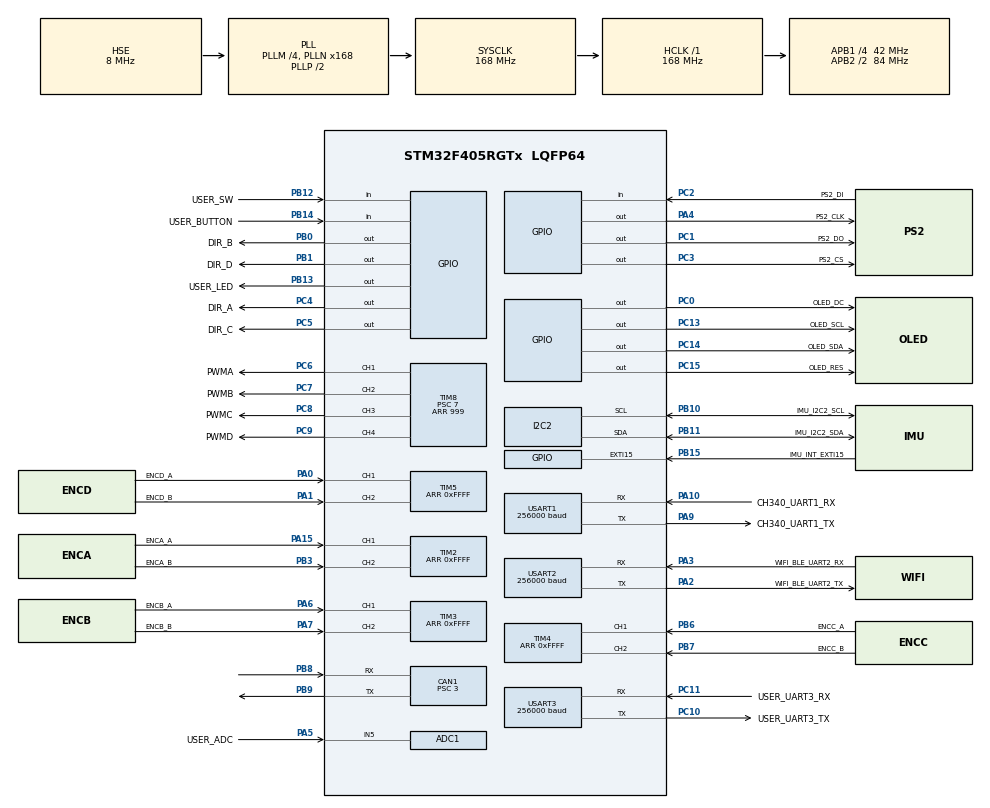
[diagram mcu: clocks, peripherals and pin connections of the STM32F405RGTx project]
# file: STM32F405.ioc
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ADC1.Channel-0\#ChannelRegularConversion=ADC_CHANNEL_5
ADC1.NbrOfConversion=1
ADC1.NbrOfConversionFlag=1
ADC1.Rank-0\#ChannelRegularConversion=1
ADC1.SamplingTime-0\#ChannelRegularConversion=ADC_SAMPLETIME_3CYCLES
ADC1.master=1
CAN1.BS1=CAN_BS1_6TQ
CAN1.BS2=CAN_BS2_7TQ
CAN1.CalculateTimeQuantum=71.42857142857143
CAN1.Prescaler=3
Dma.I2C2_RX.5.Direction=DMA_PERIPH_TO_MEMORY
Dma.I2C2_RX.5.FIFOMode=DMA_FIFOMODE_DISABLE
Dma.I2C2_RX.5.Instance=DMA1_Stream2
Dma.I2C2_RX.5.MemDataAlignment=DMA_MDATAALIGN_BYTE
Dma.I2C2_RX.5.MemInc=DMA_MINC_ENABLE
Dma.I2C2_RX.5.Mode=DMA_NORMAL
Dma.I2C2_RX.5.PeriphDataAlignment=DMA_PDATAALIGN_BYTE
Dma.I2C2_RX.5.PeriphInc=DMA_PINC_DISABLE
Dma.I2C2_RX.5.Priority=DMA_PRIORITY_HIGH
Dma.I2C2_TX.4.Direction=DMA_MEMORY_TO_PERIPH
Dma.I2C2_TX.4.FIFOMode=DMA_FIFOMODE_DISABLE
Dma.I2C2_TX.4.Instance=DMA1_Stream7
Dma.I2C2_TX.4.MemDataAlignment=DMA_MDATAALIGN_BYTE
Dma.I2C2_TX.4.MemInc=DMA_MINC_ENABLE
Dma.I2C2_TX.4.Mode=DMA_NORMAL
Dma.I2C2_TX.4.PeriphDataAlignment=DMA_PDATAALIGN_BYTE
Dma.I2C2_TX.4.PeriphInc=DMA_PINC_DISABLE
Dma.I2C2_TX.4.Priority=DMA_PRIORITY_HIGH
Dma.Request0=USART1_TX
Dma.Request1=USART1_RX
Dma.Request2=USART2_TX
Dma.Request3=USART2_RX
Dma.Request4=I2C2_TX
Dma.Request5=I2C2_RX
Dma.Request6=USART3_RX
Dma.USART1_RX.1.Direction=DMA_PERIPH_TO_MEMORY
Dma.USART1_RX.1.FIFOMode=DMA_FIFOMODE_DISABLE
Dma.USART1_RX.1.Instance=DMA2_Stream2
Dma.USART1_RX.1.MemDataAlignment=DMA_MDATAALIGN_BYTE
Dma.USART1_RX.1.MemInc=DMA_MINC_ENABLE
Dma.USART1_RX.1.Mode=DMA_NORMAL
Dma.USART1_RX.1.PeriphDataAlignment=DMA_PDATAALIGN_BYTE
Dma.USART1_RX.1.PeriphInc=DMA_PINC_DISABLE
Dma.USART1_RX.1.Priority=DMA_PRIORITY_VERY_HIGH
Dma.USART1_TX.0.Direction=DMA_MEMORY_TO_PERIPH
Dma.USART1_TX.0.FIFOMode=DMA_FIFOMODE_DISABLE
Dma.USART1_TX.0.Instance=DMA2_Stream7
Dma.USART1_TX.0.MemDataAlignment=DMA_MDATAALIGN_BYTE
Dma.USART1_TX.0.MemInc=DMA_MINC_ENABLE
Dma.USART1_TX.0.Mode=DMA_NORMAL
Dma.USART1_TX.0.PeriphDataAlignment=DMA_PDATAALIGN_BYTE
Dma.USART1_TX.0.PeriphInc=DMA_PINC_DISABLE
Dma.USART1_TX.0.Priority=DMA_PRIORITY_VERY_HIGH
Dma.USART2_RX.3.Direction=DMA_PERIPH_TO_MEMORY
Dma.USART2_RX.3.FIFOMode=DMA_FIFOMODE_DISABLE
Dma.USART2_RX.3.Instance=DMA1_Stream5
Dma.USART2_RX.3.MemDataAlignment=DMA_MDATAALIGN_BYTE
Dma.USART2_RX.3.MemInc=DMA_MINC_ENABLE
Dma.USART2_RX.3.Mode=DMA_NORMAL
Dma.USART2_RX.3.PeriphDataAlignment=DMA_PDATAALIGN_BYTE
Dma.USART2_RX.3.PeriphInc=DMA_PINC_DISABLE
Dma.USART2_RX.3.Priority=DMA_PRIORITY_VERY_HIGH
Dma.USART2_TX.2.Direction=DMA_MEMORY_TO_PERIPH
Dma.USART2_TX.2.FIFOMode=DMA_FIFOMODE_DISABLE
Dma.USART2_TX.2.Instance=DMA1_Stream6
Dma.USART2_TX.2.MemDataAlignment=DMA_MDATAALIGN_BYTE
Dma.USART2_TX.2.MemInc=DMA_MINC_ENABLE
Dma.USART2_TX.2.Mode=DMA_NORMAL
Dma.USART2_TX.2.PeriphDataAlignment=DMA_PDATAALIGN_BYTE
Dma.USART2_TX.2.PeriphInc=DMA_PINC_DISABLE
Dma.USART2_TX.2.Priority=DMA_PRIORITY_HIGH
Dma.USART3_RX.6.Direction=DMA_PERIPH_TO_MEMORY
Dma.USART3_RX.6.FIFOMode=DMA_FIFOMODE_DISABLE
Dma.USART3_RX.6.Instance=DMA1_Stream1
Dma.USART3_RX.6.MemDataAlignment=DMA_MDATAALIGN_BYTE
Dma.USART3_RX.6.MemInc=DMA_MINC_ENABLE
Dma.USART3_RX.6.Mode=DMA_NORMAL
Dma.USART3_RX.6.PeriphDataAlignment=DMA_PDATAALIGN_BYTE
Dma.USART3_RX.6.PeriphInc=DMA_PINC_DISABLE
Dma.USART3_RX.6.Priority=DMA_PRIORITY_HIGH
I2C2.I2C_Mode=I2C_Standard
Mcu.Family=STM32F4
Mcu.Name=STM32F405RGTx
Mcu.Package=LQFP64
NVIC.CAN1_RX0_IRQn=true\:0\:0\:false\:false\:true\:true\:true
NVIC.DMA1_Stream1_IRQn=true\:0\:0\:false\:false\:true\:false\:true
NVIC.DMA1_Stream2_IRQn=true\:0\:0\:false\:false\:true\:false\:true
NVIC.DMA1_Stream5_IRQn=true\:0\:0\:false\:false\:true\:false\:true
NVIC.DMA1_Stream6_IRQn=true\:0\:0\:false\:false\:true\:false\:true
NVIC.DMA1_Stream7_IRQn=true\:0\:0\:false\:false\:true\:false\:true
NVIC.DMA2_Stream2_IRQn=true\:0\:0\:false\:false\:true\:false\:true
NVIC.DMA2_Stream7_IRQn=true\:0\:0\:false\:false\:true\:false\:true
NVIC.EXTI15_10_IRQn=true\:0\:0\:true\:false\:true\:true\:true
NVIC.I2C2_EV_IRQn=true\:0\:0\:false\:false\:true\:true\:true
NVIC.PriorityGroup=NVIC_PRIORITYGROUP_4
NVIC.TIM7_IRQn=true\:0\:0\:false\:false\:true\:true\:true
NVIC.USART1_IRQn=true\:0\:0\:false\:false\:true\:true\:true
NVIC.USART2_IRQn=true\:0\:0\:false\:false\:true\:true\:true
NVIC.USART3_IRQn=true\:0\:0\:false\:false\:true\:true\:true
PA0-WKUP.GPIO_Label=ENCD_A
PA0-WKUP.GPIO_ModeDefaultPP=GPIO_MODE_AF_PP
PA0-WKUP.GPIO_PuPd=GPIO_PULLUP
PA0-WKUP.GPIO_Speed=GPIO_SPEED_FREQ_VERY_HIGH
PA0-WKUP.Signal=S_TIM5_CH1
PA1.GPIO_Label=ENCD_B
PA1.GPIO_ModeDefaultPP=GPIO_MODE_AF_PP
PA1.GPIO_PuPd=GPIO_PULLUP
PA1.GPIO_Speed=GPIO_SPEED_FREQ_VERY_HIGH
PA1.Signal=S_TIM5_CH2
PA10.GPIO_Label=CH340_UART1_RX
PA10.GPIO_ModeDefaultPP=GPIO_MODE_AF_PP
PA10.GPIO_PuPd=GPIO_PULLUP
PA10.GPIO_Speed=GPIO_SPEED_FREQ_HIGH
PA10.Mode=Asynchronous
PA10.Signal=USART1_RX
PA13.Mode=Serial_Wire
PA13.Signal=SYS_JTMS-SWDIO
PA14.Mode=Serial_Wire
PA14.Signal=SYS_JTCK-SWCLK
PA15.GPIO_Label=ENCA_A
PA15.GPIO_ModeDefaultPP=GPIO_MODE_AF_PP
PA15.GPIO_PuPd=GPIO_PULLUP
PA15.GPIO_Speed=GPIO_SPEED_FREQ_VERY_HIGH
PA15.Signal=S_TIM2_CH1_ETR
PA2.GPIO_Label=WIFI_BLE_UART2_TX
PA2.GPIO_ModeDefaultPP=GPIO_MODE_AF_PP
PA2.GPIO_PuPd=GPIO_PULLUP
PA2.GPIO_Speed=GPIO_SPEED_FREQ_HIGH
PA2.Mode=Asynchronous
PA2.Signal=USART2_TX
PA3.GPIO_Label=WIFI_BLE_UART2_RX
PA3.GPIO_ModeDefaultPP=GPIO_MODE_AF_PP
PA3.GPIO_PuPd=GPIO_PULLUP
PA3.GPIO_Speed=GPIO_SPEED_FREQ_HIGH
PA3.Mode=Asynchronous
PA3.Signal=USART2_RX
PA4.GPIO_Label=PS2_CLK
PA4.GPIO_ModeDefaultOutputPP=GPIO_MODE_OUTPUT_PP
PA4.GPIO_PuPd=GPIO_PULLUP
PA4.GPIO_Speed=GPIO_SPEED_FREQ_VERY_HIGH
PA4.PinState=GPIO_PIN_RESET
PA4.Signal=GPIO_Output
PA5.GPIO_Label=USER_ADC
PA5.GPIO_Mode=GPIO_MODE_ANALOG
PA5.GPIO_PuPd=GPIO_NOPULL
PA5.Signal=ADCx_IN5
PA6.GPIO_Label=ENCB_A
PA6.GPIO_ModeDefaultPP=GPIO_MODE_AF_PP
PA6.GPIO_PuPd=GPIO_PULLUP
PA6.GPIO_Speed=GPIO_SPEED_FREQ_VERY_HIGH
PA6.Signal=S_TIM3_CH1
PA7.GPIO_Label=ENCB_B
PA7.GPIO_ModeDefaultPP=GPIO_MODE_AF_PP
PA7.GPIO_PuPd=GPIO_PULLUP
PA7.GPIO_Speed=GPIO_SPEED_FREQ_VERY_HIGH
PA7.Signal=S_TIM3_CH2
PA9.GPIO_Label=CH340_UART1_TX
PA9.GPIO_ModeDefaultPP=GPIO_MODE_AF_PP
PA9.GPIO_PuPd=GPIO_PULLUP
PA9.GPIO_Speed=GPIO_SPEED_FREQ_HIGH
PA9.Mode=Asynchronous
PA9.Signal=USART1_TX
PB0.GPIO_Label=DIR_B
PB0.GPIO_ModeDefaultOutputPP=GPIO_MODE_OUTPUT_PP
PB0.GPIO_PuPd=GPIO_PULLUP
PB0.GPIO_Speed=GPIO_SPEED_FREQ_VERY_HIGH
PB0.PinState=GPIO_PIN_SET
PB0.Signal=GPIO_Output
PB1.GPIO_Label=DIR_D
PB1.GPIO_ModeDefaultOutputPP=GPIO_MODE_OUTPUT_PP
PB1.GPIO_PuPd=GPIO_PULLUP
PB1.GPIO_Speed=GPIO_SPEED_FREQ_VERY_HIGH
PB1.PinState=GPIO_PIN_RESET
PB1.Signal=GPIO_Output
PB10.GPIO_Label=IMU_I2C2_SCL
PB10.GPIO_Mode=GPIO_MODE_AF_OD
PB10.GPIO_PuPdOD=GPIO_PULLUP
PB10.GPIO_Speed=GPIO_SPEED_FREQ_VERY_HIGH
PB10.Mode=I2C
PB10.Signal=I2C2_SCL
PB11.GPIO_Label=IMU_I2C2_SDA
PB11.GPIO_Mode=GPIO_MODE_AF_OD
PB11.GPIO_PuPdOD=GPIO_PULLUP
PB11.GPIO_Speed=GPIO_SPEED_FREQ_VERY_HIGH
PB11.Mode=I2C
PB11.Signal=I2C2_SDA
PB12.GPIO_Label=USER_SW
PB12.GPIO_Mode=GPIO_MODE_INPUT
PB12.GPIO_PuPd=GPIO_PULLUP
PB12.Signal=GPIO_Input
PB13.GPIO_Label=USER_LED
PB13.GPIO_ModeDefaultOutputPP=GPIO_MODE_OUTPUT_PP
PB13.GPIO_PuPd=GPIO_PULLUP
PB13.GPIO_Speed=GPIO_SPEED_FREQ_VERY_HIGH
PB13.PinState=GPIO_PIN_RESET
PB13.Signal=GPIO_Output
PB14.GPIO_Label=USER_BUTTON
PB14.GPIO_Mode=GPIO_MODE_INPUT
PB14.GPIO_PuPd=GPIO_PULLUP
PB14.Signal=GPIO_Input
PB15.GPIO_Label=IMU_INT_EXTI15
PB15.GPIO_ModeDefaultEXTI=GPIO_MODE_IT_FALLING
PB15.GPIO_PuPd=GPIO_PULLUP
PB15.Signal=GPXTI15
PB3.GPIO_Label=ENCA_B
PB3.GPIO_ModeDefaultPP=GPIO_MODE_AF_PP
PB3.GPIO_PuPd=GPIO_PULLUP
PB3.GPIO_Speed=GPIO_SPEED_FREQ_VERY_HIGH
PB3.Signal=S_TIM2_CH2
PB6.GPIO_Label=ENCC_A
PB6.GPIO_ModeDefaultPP=GPIO_MODE_AF_PP
PB6.GPIO_PuPd=GPIO_PULLUP
PB6.GPIO_Speed=GPIO_SPEED_FREQ_VERY_HIGH
PB6.Signal=S_TIM4_CH1
PB7.GPIO_Label=ENCC_B
PB7.GPIO_ModeDefaultPP=GPIO_MODE_AF_PP
PB7.GPIO_PuPd=GPIO_PULLUP
PB7.GPIO_Speed=GPIO_SPEED_FREQ_VERY_HIGH
PB7.Signal=S_TIM4_CH2
PB8.GPIO_Mode=GPIO_MODE_AF_PP
PB8.GPIO_PuPd=GPIO_PULLUP
PB8.GPIO_Speed=GPIO_SPEED_FREQ_VERY_HIGH
PB8.Mode=Master
PB8.Signal=CAN1_RX
PB9.GPIO_Mode=GPIO_MODE_AF_PP
PB9.GPIO_PuPd=GPIO_PULLUP
PB9.GPIO_Speed=GPIO_SPEED_FREQ_VERY_HIGH
PB9.Mode=Master
PB9.Signal=CAN1_TX
PC0.GPIO_Label=OLED_DC
PC0.GPIO_ModeDefaultOutputPP=GPIO_MODE_OUTPUT_PP
PC0.GPIO_PuPd=GPIO_NOPULL
PC0.GPIO_Speed=GPIO_SPEED_FREQ_LOW
PC0.PinState=GPIO_PIN_RESET
PC0.Signal=GPIO_Output
PC1.GPIO_Label=PS2_DO
PC1.GPIO_PuPd=GPIO_PULLUP
PC1.GPIO_Speed=GPIO_SPEED_FREQ_VERY_HIGH
PC1.Signal=GPIO_Output
PC10.GPIO_Label=USER_UART3_TX
PC10.GPIO_ModeDefaultPP=GPIO_MODE_AF_PP
PC10.GPIO_PuPd=GPIO_PULLUP
PC10.GPIO_Speed=GPIO_SPEED_FREQ_HIGH
PC10.Mode=Asynchronous
PC10.Signal=USART3_TX
PC11.GPIO_Label=USER_UART3_RX
PC11.GPIO_ModeDefaultPP=GPIO_MODE_AF_PP
PC11.GPIO_PuPd=GPIO_PULLUP
PC11.GPIO_Speed=GPIO_SPEED_FREQ_HIGH
PC11.Mode=Asynchronous
PC11.Signal=USART3_RX
PC13-ANTI_TAMP.GPIO_Label=OLED_SCL
PC13-ANTI_TAMP.GPIO_ModeDefaultOutputPP=GPIO_MODE_OUTPUT_PP
PC13-ANTI_TAMP.GPIO_PuPd=GPIO_NOPULL
PC13-ANTI_TAMP.GPIO_Speed=GPIO_SPEED_FREQ_LOW
PC13-ANTI_TAMP.PinState=GPIO_PIN_RESET
PC13-ANTI_TAMP.Signal=GPIO_Output
PC14-OSC32_IN.GPIO_Label=OLED_SDA
PC14-OSC32_IN.GPIO_ModeDefaultOutputPP=GPIO_MODE_OUTPUT_PP
PC14-OSC32_IN.GPIO_PuPd=GPIO_NOPULL
PC14-OSC32_IN.GPIO_Speed=GPIO_SPEED_FREQ_LOW
PC14-OSC32_IN.PinState=GPIO_PIN_RESET
PC14-OSC32_IN.Signal=GPIO_Output
PC15-OSC32_OUT.GPIO_Label=OLED_RES
PC15-OSC32_OUT.GPIO_ModeDefaultOutputPP=GPIO_MODE_OUTPUT_PP
PC15-OSC32_OUT.GPIO_PuPd=GPIO_NOPULL
PC15-OSC32_OUT.GPIO_Speed=GPIO_SPEED_FREQ_LOW
PC15-OSC32_OUT.PinState=GPIO_PIN_RESET
PC15-OSC32_OUT.Signal=GPIO_Output
PC2.GPIO_Label=PS2_DI
PC2.GPIO_PuPd=GPIO_PULLUP
PC2.Signal=GPIO_Input
PC3.GPIO_Label=PS2_CS
PC3.GPIO_ModeDefaultOutputPP=GPIO_MODE_OUTPUT_PP
PC3.GPIO_PuPd=GPIO_PULLUP
PC3.GPIO_Speed=GPIO_SPEED_FREQ_VERY_HIGH
PC3.PinState=GPIO_PIN_RESET
PC3.Signal=GPIO_Output
PC4.GPIO_Label=DIR_A
PC4.GPIO_ModeDefaultOutputPP=GPIO_MODE_OUTPUT_PP
PC4.GPIO_PuPd=GPIO_PULLUP
PC4.GPIO_Speed=GPIO_SPEED_FREQ_VERY_HIGH
PC4.PinState=GPIO_PIN_SET
PC4.Signal=GPIO_Output
PC5.GPIO_Label=DIR_C
PC5.GPIO_ModeDefaultOutputPP=GPIO_MODE_OUTPUT_PP
PC5.GPIO_PuPd=GPIO_PULLUP
PC5.GPIO_Speed=GPIO_SPEED_FREQ_VERY_HIGH
PC5.PinState=GPIO_PIN_RESET
PC5.Signal=GPIO_Output
PC6.GPIO_Label=PWMA
PC6.GPIO_ModeDefaultPP=GPIO_MODE_AF_PP
PC6.GPIO_PuPd=GPIO_PULLUP
PC6.GPIO_Speed=GPIO_SPEED_FREQ_VERY_HIGH
PC6.Signal=S_TIM8_CH1
PC7.GPIO_Label=PWMB
PC7.GPIO_ModeDefaultPP=GPIO_MODE_AF_PP
PC7.GPIO_PuPd=GPIO_PULLUP
PC7.GPIO_Speed=GPIO_SPEED_FREQ_VERY_HIGH
PC7.Signal=S_TIM8_CH2
PC8.GPIO_Label=PWMC
PC8.GPIO_ModeDefaultPP=GPIO_MODE_AF_PP
PC8.GPIO_PuPd=GPIO_PULLUP
PC8.GPIO_Speed=GPIO_SPEED_FREQ_VERY_HIGH
PC8.Signal=S_TIM8_CH3
PC9.GPIO_Label=PWMD
PC9.GPIO_ModeDefaultPP=GPIO_MODE_AF_PP
PC9.GPIO_PuPd=GPIO_PULLUP
PC9.GPIO_Speed=GPIO_SPEED_FREQ_VERY_HIGH
PC9.Signal=S_TIM8_CH4
PH0-OSC_IN.Mode=HSE-External-Oscillator
PH0-OSC_IN.Signal=RCC_OSC_IN
PH1-OSC_OUT.Mode=HSE-External-Oscillator
PH1-OSC_OUT.Signal=RCC_OSC_OUT
ProjectManager.HeapSize=0x200
ProjectManager.StackSize=0x400
ProjectManager.TargetToolchain=STM32CubeIDE
RCC.48MHZClocksFreq_Value=84000000
RCC.AHBFreq_Value=168000000
RCC.APB1CLKDivider=RCC_HCLK_DIV4
RCC.APB1Freq_Value=42000000
RCC.APB1TimFreq_Value=84000000
RCC.APB2CLKDivider=RCC_HCLK_DIV2
RCC.APB2Freq_Value=84000000
RCC.APB2TimFreq_Value=168000000
RCC.CortexFreq_Value=168000000
RCC.EnbaleCSS=true
RCC.HCLKFreq_Value=168000000
RCC.HSE_VALUE=8000000
RCC.HSI_VALUE=16000000
RCC.LSE_VALUE=32768
RCC.PLLM=4
RCC.PLLN=168
RCC.PLLSourceVirtual=RCC_PLLSOURCE_HSE
RCC.SYSCLKFreq_VALUE=168000000
RCC.SYSCLKSource=RCC_SYSCLKSOURCE_PLLCLK
RCC.VCOOutputFreq_Value=336000000
SH.ADCx_IN5.0=ADC1_IN5,IN5
SH.S_TIM2_CH1_ETR.0=TIM2_CH1,Encoder_Interface
SH.S_TIM2_CH2.0=TIM2_CH2,Encoder_Interface
SH.S_TIM3_CH1.0=TIM3_CH1,Encoder_Interface
SH.S_TIM3_CH2.0=TIM3_CH2,Encoder_Interface
SH.S_TIM4_CH1.0=TIM4_CH1,Encoder_Interface
SH.S_TIM4_CH2.0=TIM4_CH2,Encoder_Interface
SH.S_TIM5_CH1.0=TIM5_CH1,Encoder_Interface
SH.S_TIM5_CH2.0=TIM5_CH2,Encoder_Interface
SH.S_TIM8_CH1.0=TIM8_CH1,PWM Generation1 CH1
SH.S_TIM8_CH2.0=TIM8_CH2,PWM Generation2 CH2
SH.S_TIM8_CH3.0=TIM8_CH3,PWM Generation3 CH3
SH.S_TIM8_CH4.0=TIM8_CH4,PWM Generation4 CH4
TIM2.EncoderMode=TIM_ENCODERMODE_TI12
TIM2.Period=0xFFFF
TIM2.TIM_MasterOutputTrigger=TIM_TRGO_RESET
TIM3.EncoderMode=TIM_ENCODERMODE_TI12
TIM3.Period=0xFFFF
TIM4.EncoderMode=TIM_ENCODERMODE_TI12
TIM4.Period=0xFFFF
TIM5.Period=0xFFFF
TIM7.Period=4999
TIM7.Prescaler=83
TIM7.TIM_MasterOutputTrigger=TIM_TRGO_UPDATE
TIM8.AutomaticOutput=TIM_AUTOMATICOUTPUT_DISABLE
TIM8.BreakState=TIM_BREAK_ENABLE
TIM8.Channel-PWM\ Generation1\ CH1=TIM_CHANNEL_1
TIM8.Channel-PWM\ Generation2\ CH2=TIM_CHANNEL_2
TIM8.Channel-PWM\ Generation3\ CH3=TIM_CHANNEL_3
TIM8.Channel-PWM\ Generation4\ CH4=TIM_CHANNEL_4
TIM8.OCMode_PWM-PWM\ Generation1\ CH1=TIM_OCMODE_PWM1
TIM8.OCMode_PWM-PWM\ Generation2\ CH2=TIM_OCMODE_PWM1
TIM8.OCMode_PWM-PWM\ Generation3\ CH3=TIM_OCMODE_PWM1
TIM8.OCMode_PWM-PWM\ Generation4\ CH4=TIM_OCMODE_PWM1
TIM8.OCPolarity_1=TIM_OCPOLARITY_LOW
TIM8.OCPolarity_2=TIM_OCPOLARITY_LOW
TIM8.OCPolarity_3=TIM_OCPOLARITY_LOW
TIM8.OCPolarity_4=TIM_OCPOLARITY_LOW
TIM8.OffStateIDLEMode=TIM_OSSI_DISABLE
TIM8.OffStateRunMode=TIM_OSSR_DISABLE
TIM8.Period=999
TIM8.Prescaler=7
TIM8.Pulse-PWM\ Generation1\ CH1=0
TIM8.Pulse-PWM\ Generation2\ CH2=0
TIM8.Pulse-PWM\ Generation3\ CH3=0
TIM8.Pulse-PWM\ Generation4\ CH4=0
USART1.BaudRate=256000
USART1.VirtualMode=VM_ASYNC
USART2.BaudRate=256000
USART2.VirtualMode=VM_ASYNC
USART3.BaudRate=256000
USART3.VirtualMode=VM_ASYNC
VP_TIM7_VS_ClockSourceINT.Mode=Enable_Timer
VP_TIM8_VS_ClockSourceINT.Mode=Internal
board=custom

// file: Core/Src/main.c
/* USER CODE BEGIN Header */
/**
 ******************************************************************************
 * @file           : main.c
 * @brief          : Main program body
 ******************************************************************************
 * @attention
 *
 * <h2><center>&copy; Copyright (c) 2020 STMicroelectronics.
 * All rights reserved.</center></h2>
 *
 * This software component is licensed by ST under BSD 3-Clause license,
 * the "License"; You may not use this file except in compliance with the
 * License. You may obtain a copy of the License at:
 *                        opensource.org/licenses/BSD-3-Clause
 *
 ******************************************************************************
 */
/* USER CODE END Header */

#include "main.h"

/* USER CODE BEGIN Includes */
#include "sys.h"
#include "delay.h"
#include "robot.h"
#include "uart.h"
#include "control.h"
#include "estimation.h"
#include "rosapp.h"

#include "mpu6050.h"
#include "test_demo.h"
/* USER CODE END Includes */

ADC_HandleTypeDef hadc1;

CAN_HandleTypeDef hcan1;

I2C_HandleTypeDef hi2c2;
DMA_HandleTypeDef hdma_i2c2_tx;
DMA_HandleTypeDef hdma_i2c2_rx;

TIM_HandleTypeDef htim2;
TIM_HandleTypeDef htim3;
TIM_HandleTypeDef htim4;
TIM_HandleTypeDef htim5;
TIM_HandleTypeDef htim7;
TIM_HandleTypeDef htim8;

UART_HandleTypeDef huart1;
UART_HandleTypeDef huart2;
UART_HandleTypeDef huart3;
DMA_HandleTypeDef hdma_usart1_tx;
DMA_HandleTypeDef hdma_usart1_rx;
DMA_HandleTypeDef hdma_usart2_tx;
DMA_HandleTypeDef hdma_usart2_rx;
DMA_HandleTypeDef hdma_usart3_rx;

void SystemClock_Config(void);
static void MX_GPIO_Init(void);
static void MX_DMA_Init(void);
static void MX_TIM2_Init(void);
static void MX_TIM3_Init(void);
static void MX_ADC1_Init(void);
static void MX_CAN1_Init(void);
static void MX_I2C2_Init(void);
static void MX_TIM4_Init(void);
static void MX_TIM5_Init(void);
static void MX_USART1_UART_Init(void);
static void MX_USART2_UART_Init(void);
static void MX_TIM8_Init(void);
static void MX_USART3_UART_Init(void);
static void MX_TIM7_Init(void);

/* USER CODE BEGIN 0 */
Motor_HandleTypeDef motorAGV = {0};
PID_HandleTypeDef cPID = {0};
ROBOT_HandleTypeDef robotAGV = {0};
volatile int16_t nCountTick1ms;
volatile int16_t nCountTick1msIMU;
volatile float yaw_imu = 0;

#define Size_pData	13 // 3*4+CR = 13;
uint8_t pData[Size_pData] = {0};
extern float dataFloat[3];
__IO uint16_t timeout = 0; //chờ lâu quá ko có lệnh điều khiển gửi xuống thì dừng xe
/* USER CODE END 0 */

int main(void)
{

  /* MCU Configuration--------------------------------------------------------*/

  /* Reset of all peripherals, Initializes the Flash interface and the Systick. */
  HAL_Init();

  /* Configure the system clock */
  SystemClock_Config();

  /* Initialize all configured peripherals */
  MX_GPIO_Init();
  MX_DMA_Init();
  MX_TIM2_Init();
  MX_TIM3_Init();
  MX_ADC1_Init();
  MX_CAN1_Init();
  MX_I2C2_Init();
  MX_TIM4_Init();
  MX_TIM5_Init();
  MX_USART1_UART_Init();
  MX_USART2_UART_Init();
  MX_TIM8_Init();
  MX_USART3_UART_Init();
  MX_TIM7_Init();
  /* USER CODE BEGIN 2 */

  // --- For Motor DC --------------
  if (ROBOT_Init(&robotAGV) != DRV_OK)
	  Error_DriverHandler();
  ROBOT_CONTROL_PID_Init(&robotAGV);
  //-----For ROS Init ---------------------
  //ROS_Setup();
  IMU_Setup();
  //Enable Time7 = 5ms
  if(HAL_TIM_Base_Start_IT(&htim7) != HAL_OK) Error_Handler();

  //Thêm hàm nhận RX cho UARTx
  HAL_UART_Receive_DMA(&huart1, (uint8_t *)pData, Size_pData);
  //HAL_UART_Receive_DMA(&huart2, (uint8_t *)pData, Size_pData);
  //HAL_UART_Receive_DMA(&huart3, (uint8_t *)pData, Size_pData);
  /* USER CODE END 2 */

  /* Infinite loop */
	while (1)
	{

    /* USER CODE BEGIN 3 */
		static int nRunning = 0;
		if (nCountTick1ms >= 5) {	// 5ms == 200 Hz
			nCountTick1ms = 0; //reset
			//GPIOB->ODR ^= USER_LED_Pin;
			//code here --------------
			Test_Run_Robot(&robotAGV);	//Dặt tốc độ mong muốn (v,w) của robot <=>sub__cmd_vel__callback
			Test_Odom_IMU(&robotAGV);
			//After 5 seconds not have data RX, then Robot STOP !!!
			timeout++;
			if (timeout >= 1000) // ~1000*5 = 2000ms = 5 seconds
			{
				timeout = 0; //reset
				dataFloat[0] = 0.0;
				dataFloat[1] = 0.0;
				// <==> ComputeAngularVelocity(&robotAGV,0.0,0.0)
				//reset
				HAL_UART_Receive_DMA(&huart1, (uint8_t *)pData, Size_pData);
			}
			// Nhan biet he thong dang chay
			nRunning++;
			if (nRunning >= 200) // ~200*5 = 1 giay
			{
				nRunning = 0; //reset
				GPIOB->ODR ^= USER_LED_Pin;
			}
		}
		if (nCountTick1msIMU >= 1) {	// 1ms == 1kHz
			nCountTick1msIMU = 0; //reset
			yaw_imu = Read_IMU();	//PASSED = Chính xác 1ms Ready data, Time load hết 6*2 bytes = 0.6ms
		}
		//Test_Set_PWM_For_Estimation(&robotAGV);
		//Test_Robot_Run_OneCircle(&robotAGV); 	//PASSED
		//Test_Robot_Run_Square(&robotAGV);	   	//PASSED
		//Test_Robot_Run_Num8(&robotAGV);		//PASSED
		//ROS_Loop();
		//Test_Get_IMU_Raw_RPY(); Test_Get_IMU_Raw_RPY() to matlab
	}
  /* USER CODE END 3 */
}

void SystemClock_Config(void)
{
  RCC_OscInitTypeDef RCC_OscInitStruct = {0};
  RCC_ClkInitTypeDef RCC_ClkInitStruct = {0};

  /** Configure the main internal regulator output voltage
  */
  __HAL_RCC_PWR_CLK_ENABLE();
  __HAL_PWR_VOLTAGESCALING_CONFIG(PWR_REGULATOR_VOLTAGE_SCALE1);
  /** Initializes the CPU, AHB and APB busses clocks
  */
  RCC_OscInitStruct.OscillatorType = RCC_OSCILLATORTYPE_HSE;
  RCC_OscInitStruct.HSEState = RCC_HSE_ON;
  RCC_OscInitStruct.PLL.PLLState = RCC_PLL_ON;
  RCC_OscInitStruct.PLL.PLLSource = RCC_PLLSOURCE_HSE;
  RCC_OscInitStruct.PLL.PLLM = 4;
  RCC_OscInitStruct.PLL.PLLN = 168;
  RCC_OscInitStruct.PLL.PLLP = RCC_PLLP_DIV2;
  RCC_OscInitStruct.PLL.PLLQ = 4;
  if (HAL_RCC_OscConfig(&RCC_OscInitStruct) != HAL_OK)
  {
    Error_Handler();
  }
  /** Initializes the CPU, AHB and APB busses clocks
  */
  RCC_ClkInitStruct.ClockType = RCC_CLOCKTYPE_HCLK|RCC_CLOCKTYPE_SYSCLK
                              |RCC_CLOCKTYPE_PCLK1|RCC_CLOCKTYPE_PCLK2;
  RCC_ClkInitStruct.SYSCLKSource = RCC_SYSCLKSOURCE_PLLCLK;
  RCC_ClkInitStruct.AHBCLKDivider = RCC_SYSCLK_DIV1;
  RCC_ClkInitStruct.APB1CLKDivider = RCC_HCLK_DIV4;
  RCC_ClkInitStruct.APB2CLKDivider = RCC_HCLK_DIV2;

  if (HAL_RCC_ClockConfig(&RCC_ClkInitStruct, FLASH_LATENCY_5) != HAL_OK)
  {
    Error_Handler();
  }
  /** Enables the Clock Security System
  */
  HAL_RCC_EnableCSS();
}

static void MX_ADC1_Init(void)
{

  ADC_ChannelConfTypeDef sConfig = {0};

  /** Configure the global features of the ADC (Clock, Resolution, Data Alignment and number of conversion)
  */
  hadc1.Instance = ADC1;
  hadc1.Init.ClockPrescaler = ADC_CLOCK_SYNC_PCLK_DIV4;
  hadc1.Init.Resolution = ADC_RESOLUTION_12B;
  hadc1.Init.ScanConvMode = DISABLE;
  hadc1.Init.ContinuousConvMode = DISABLE;
  hadc1.Init.DiscontinuousConvMode = DISABLE;
  hadc1.Init.ExternalTrigConvEdge = ADC_EXTERNALTRIGCONVEDGE_NONE;
  hadc1.Init.ExternalTrigConv = ADC_SOFTWARE_START;
  hadc1.Init.DataAlign = ADC_DATAALIGN_RIGHT;
  hadc1.Init.NbrOfConversion = 1;
  hadc1.Init.DMAContinuousRequests = DISABLE;
  hadc1.Init.EOCSelection = ADC_EOC_SINGLE_CONV;
  if (HAL_ADC_Init(&hadc1) != HAL_OK)
  {
    Error_Handler();
  }
  /** Configure for the selected ADC regular channel its corresponding rank in the sequencer and its sample time.
  */
  sConfig.Channel = ADC_CHANNEL_5;
  sConfig.Rank = 1;
  sConfig.SamplingTime = ADC_SAMPLETIME_3CYCLES;
  if (HAL_ADC_ConfigChannel(&hadc1, &sConfig) != HAL_OK)
  {
    Error_Handler();
  }

}

static void MX_CAN1_Init(void)
{

  hcan1.Instance = CAN1;
  hcan1.Init.Prescaler = 3;
  hcan1.Init.Mode = CAN_MODE_NORMAL;
  hcan1.Init.SyncJumpWidth = CAN_SJW_1TQ;
  hcan1.Init.TimeSeg1 = CAN_BS1_6TQ;
  hcan1.Init.TimeSeg2 = CAN_BS2_7TQ;
  hcan1.Init.TimeTriggeredMode = DISABLE;
  hcan1.Init.AutoBusOff = DISABLE;
  hcan1.Init.AutoWakeUp = DISABLE;
  hcan1.Init.AutoRetransmission = DISABLE;
  hcan1.Init.ReceiveFifoLocked = DISABLE;
  hcan1.Init.TransmitFifoPriority = DISABLE;
  if (HAL_CAN_Init(&hcan1) != HAL_OK)
  {
    Error_Handler();
  }

}

static void MX_I2C2_Init(void)
{

  hi2c2.Instance = I2C2;
  hi2c2.Init.ClockSpeed = 100000;
  hi2c2.Init.DutyCycle = I2C_DUTYCYCLE_2;
  hi2c2.Init.OwnAddress1 = 0;
  hi2c2.Init.AddressingMode = I2C_ADDRESSINGMODE_7BIT;
  hi2c2.Init.DualAddressMode = I2C_DUALADDRESS_DISABLE;
  hi2c2.Init.OwnAddress2 = 0;
  hi2c2.Init.GeneralCallMode = I2C_GENERALCALL_DISABLE;
  hi2c2.Init.NoStretchMode = I2C_NOSTRETCH_DISABLE;
  if (HAL_I2C_Init(&hi2c2) != HAL_OK)
  {
    Error_Handler();
  }

}

static void MX_TIM2_Init(void)
{

  TIM_Encoder_InitTypeDef sConfig = {0};
  TIM_MasterConfigTypeDef sMasterConfig = {0};

  htim2.Instance = TIM2;
  htim2.Init.Prescaler = 0;
  htim2.Init.CounterMode = TIM_COUNTERMODE_UP;
  htim2.Init.Period = 0xFFFF;
  htim2.Init.ClockDivision = TIM_CLOCKDIVISION_DIV1;
  htim2.Init.AutoReloadPreload = TIM_AUTORELOAD_PRELOAD_DISABLE;
  sConfig.EncoderMode = TIM_ENCODERMODE_TI12;
  sConfig.IC1Polarity = TIM_ICPOLARITY_RISING;
  sConfig.IC1Selection = TIM_ICSELECTION_DIRECTTI;
  sConfig.IC1Prescaler = TIM_ICPSC_DIV1;
  sConfig.IC1Filter = 0;
  sConfig.IC2Polarity = TIM_ICPOLARITY_RISING;
  sConfig.IC2Selection = TIM_ICSELECTION_DIRECTTI;
  sConfig.IC2Prescaler = TIM_ICPSC_DIV1;
  sConfig.IC2Filter = 0;
  if (HAL_TIM_Encoder_Init(&htim2, &sConfig) != HAL_OK)
  {
    Error_Handler();
  }
  sMasterConfig.MasterOutputTrigger = TIM_TRGO_RESET;
  sMasterConfig.MasterSlaveMode = TIM_MASTERSLAVEMODE_DISABLE;
  if (HAL_TIMEx_MasterConfigSynchronization(&htim2, &sMasterConfig) != HAL_OK)
  {
    Error_Handler();
  }

}

static void MX_TIM3_Init(void)
{

  TIM_Encoder_InitTypeDef sConfig = {0};
  TIM_MasterConfigTypeDef sMasterConfig = {0};

  htim3.Instance = TIM3;
  htim3.Init.Prescaler = 0;
  htim3.Init.CounterMode = TIM_COUNTERMODE_UP;
  htim3.Init.Period = 0xFFFF;
  htim3.Init.ClockDivision = TIM_CLOCKDIVISION_DIV1;
  htim3.Init.AutoReloadPreload = TIM_AUTORELOAD_PRELOAD_DISABLE;
  sConfig.EncoderMode = TIM_ENCODERMODE_TI12;
  sConfig.IC1Polarity = TIM_ICPOLARITY_RISING;
  sConfig.IC1Selection = TIM_ICSELECTION_DIRECTTI;
  sConfig.IC1Prescaler = TIM_ICPSC_DIV1;
  sConfig.IC1Filter = 0;
  sConfig.IC2Polarity = TIM_ICPOLARITY_RISING;
  sConfig.IC2Selection = TIM_ICSELECTION_DIRECTTI;
  sConfig.IC2Prescaler = TIM_ICPSC_DIV1;
  sConfig.IC2Filter = 0;
  if (HAL_TIM_Encoder_Init(&htim3, &sConfig) != HAL_OK)
  {
    Error_Handler();
  }
  sMasterConfig.MasterOutputTrigger = TIM_TRGO_RESET;
  sMasterConfig.MasterSlaveMode = TIM_MASTERSLAVEMODE_DISABLE;
  if (HAL_TIMEx_MasterConfigSynchronization(&htim3, &sMasterConfig) != HAL_OK)
  {
    Error_Handler();
  }

}

static void MX_TIM4_Init(void)
{

  TIM_Encoder_InitTypeDef sConfig = {0};
  TIM_MasterConfigTypeDef sMasterConfig = {0};

  htim4.Instance = TIM4;
  htim4.Init.Prescaler = 0;
  htim4.Init.CounterMode = TIM_COUNTERMODE_UP;
  htim4.Init.Period = 0xFFFF;
  htim4.Init.ClockDivision = TIM_CLOCKDIVISION_DIV1;
  htim4.Init.AutoReloadPreload = TIM_AUTORELOAD_PRELOAD_DISABLE;
  sConfig.EncoderMode = TIM_ENCODERMODE_TI12;
  sConfig.IC1Polarity = TIM_ICPOLARITY_RISING;
  sConfig.IC1Selection = TIM_ICSELECTION_DIRECTTI;
  sConfig.IC1Prescaler = TIM_ICPSC_DIV1;
  sConfig.IC1Filter = 0;
  sConfig.IC2Polarity = TIM_ICPOLARITY_RISING;
  sConfig.IC2Selection = TIM_ICSELECTION_DIRECTTI;
  sConfig.IC2Prescaler = TIM_ICPSC_DIV1;
  sConfig.IC2Filter = 0;
  if (HAL_TIM_Encoder_Init(&htim4, &sConfig) != HAL_OK)
  {
    Error_Handler();
  }
  sMasterConfig.MasterOutputTrigger = TIM_TRGO_RESET;
  sMasterConfig.MasterSlaveMode = TIM_MASTERSLAVEMODE_DISABLE;
  if (HAL_TIMEx_MasterConfigSynchronization(&htim4, &sMasterConfig) != HAL_OK)
  {
    Error_Handler();
  }

}

static void MX_TIM5_Init(void)
{

  TIM_Encoder_InitTypeDef sConfig = {0};
  TIM_MasterConfigTypeDef sMasterConfig = {0};

  htim5.Instance = TIM5;
  htim5.Init.Prescaler = 0;
  htim5.Init.CounterMode = TIM_COUNTERMODE_UP;
  htim5.Init.Period = 0xFFFF;
  htim5.Init.ClockDivision = TIM_CLOCKDIVISION_DIV1;
  htim5.Init.AutoReloadPreload = TIM_AUTORELOAD_PRELOAD_DISABLE;
  sConfig.EncoderMode = TIM_ENCODERMODE_TI1;
  sConfig.IC1Polarity = TIM_ICPOLARITY_RISING;
  sConfig.IC1Selection = TIM_ICSELECTION_DIRECTTI;
  sConfig.IC1Prescaler = TIM_ICPSC_DIV1;
  sConfig.IC1Filter = 0;
  sConfig.IC2Polarity = TIM_ICPOLARITY_RISING;
  sConfig.IC2Selection = TIM_ICSELECTION_DIRECTTI;
  sConfig.IC2Prescaler = TIM_ICPSC_DIV1;
  sConfig.IC2Filter = 0;
  if (HAL_TIM_Encoder_Init(&htim5, &sConfig) != HAL_OK)
  {
    Error_Handler();
  }
  sMasterConfig.MasterOutputTrigger = TIM_TRGO_RESET;
  sMasterConfig.MasterSlaveMode = TIM_MASTERSLAVEMODE_DISABLE;
  if (HAL_TIMEx_MasterConfigSynchronization(&htim5, &sMasterConfig) != HAL_OK)
  {
    Error_Handler();
  }

}

static void MX_TIM7_Init(void)
{

  TIM_MasterConfigTypeDef sMasterConfig = {0};

  htim7.Instance = TIM7;
  htim7.Init.Prescaler = 83;
  htim7.Init.CounterMode = TIM_COUNTERMODE_UP;
  htim7.Init.Period = 4999;
  htim7.Init.AutoReloadPreload = TIM_AUTORELOAD_PRELOAD_DISABLE;
  if (HAL_TIM_Base_Init(&htim7) != HAL_OK)
  {
    Error_Handler();
  }
  sMasterConfig.MasterOutputTrigger = TIM_TRGO_UPDATE;
  sMasterConfig.MasterSlaveMode = TIM_MASTERSLAVEMODE_DISABLE;
  if (HAL_TIMEx_MasterConfigSynchronization(&htim7, &sMasterConfig) != HAL_OK)
  {
    Error_Handler();
  }

}

static void MX_TIM8_Init(void)
{

  TIM_ClockConfigTypeDef sClockSourceConfig = {0};
  TIM_MasterConfigTypeDef sMasterConfig = {0};
  TIM_OC_InitTypeDef sConfigOC = {0};
  TIM_BreakDeadTimeConfigTypeDef sBreakDeadTimeConfig = {0};

  htim8.Instance = TIM8;
  htim8.Init.Prescaler = 7;
  htim8.Init.CounterMode = TIM_COUNTERMODE_UP;
  htim8.Init.Period = 999;
  htim8.Init.ClockDivision = TIM_CLOCKDIVISION_DIV1;
  htim8.Init.RepetitionCounter = 0;
  htim8.Init.AutoReloadPreload = TIM_AUTORELOAD_PRELOAD_DISABLE;
  if (HAL_TIM_Base_Init(&htim8) != HAL_OK)
  {
    Error_Handler();
  }
  sClockSourceConfig.ClockSource = TIM_CLOCKSOURCE_INTERNAL;
  if (HAL_TIM_ConfigClockSource(&htim8, &sClockSourceConfig) != HAL_OK)
  {
    Error_Handler();
  }
  if (HAL_TIM_PWM_Init(&htim8) != HAL_OK)
  {
    Error_Handler();
  }
  sMasterConfig.MasterOutputTrigger = TIM_TRGO_RESET;
  sMasterConfig.MasterSlaveMode = TIM_MASTERSLAVEMODE_DISABLE;
  if (HAL_TIMEx_MasterConfigSynchronization(&htim8, &sMasterConfig) != HAL_OK)
  {
    Error_Handler();
  }
  sConfigOC.OCMode = TIM_OCMODE_PWM1;
  sConfigOC.Pulse = 0;
  sConfigOC.OCPolarity = TIM_OCPOLARITY_LOW;
  sConfigOC.OCNPolarity = TIM_OCNPOLARITY_HIGH;
  sConfigOC.OCFastMode = TIM_OCFAST_DISABLE;
  sConfigOC.OCIdleState = TIM_OCIDLESTATE_RESET;
  sConfigOC.OCNIdleState = TIM_OCNIDLESTATE_RESET;
  if (HAL_TIM_PWM_ConfigChannel(&htim8, &sConfigOC, TIM_CHANNEL_1) != HAL_OK)
  {
    Error_Handler();
  }
  if (HAL_TIM_PWM_ConfigChannel(&htim8, &sConfigOC, TIM_CHANNEL_2) != HAL_OK)
  {
    Error_Handler();
  }
  if (HAL_TIM_PWM_ConfigChannel(&htim8, &sConfigOC, TIM_CHANNEL_3) != HAL_OK)
  {
    Error_Handler();
  }
  if (HAL_TIM_PWM_ConfigChannel(&htim8, &sConfigOC, TIM_CHANNEL_4) != HAL_OK)
  {
    Error_Handler();
  }
  sBreakDeadTimeConfig.OffStateRunMode = TIM_OSSR_DISABLE;
  sBreakDeadTimeConfig.OffStateIDLEMode = TIM_OSSI_DISABLE;
  sBreakDeadTimeConfig.LockLevel = TIM_LOCKLEVEL_OFF;
  sBreakDeadTimeConfig.DeadTime = 0;
  sBreakDeadTimeConfig.BreakState = TIM_BREAK_ENABLE;
  sBreakDeadTimeConfig.BreakPolarity = TIM_BREAKPOLARITY_HIGH;
  sBreakDeadTimeConfig.AutomaticOutput = TIM_AUTOMATICOUTPUT_DISABLE;
  if (HAL_TIMEx_ConfigBreakDeadTime(&htim8, &sBreakDeadTimeConfig) != HAL_OK)
  {
    Error_Handler();
  }
  HAL_TIM_MspPostInit(&htim8);

}

static void MX_USART1_UART_Init(void)
{

  huart1.Instance = USART1;
  huart1.Init.BaudRate = 256000;
  huart1.Init.WordLength = UART_WORDLENGTH_8B;
  huart1.Init.StopBits = UART_STOPBITS_1;
  huart1.Init.Parity = UART_PARITY_NONE;
  huart1.Init.Mode = UART_MODE_TX_RX;
  huart1.Init.HwFlowCtl = UART_HWCONTROL_NONE;
  huart1.Init.OverSampling = UART_OVERSAMPLING_16;
  if (HAL_UART_Init(&huart1) != HAL_OK)
  {
    Error_Handler();
  }

}

static void MX_USART2_UART_Init(void)
{

  huart2.Instance = USART2;
  huart2.Init.BaudRate = 256000;
  huart2.Init.WordLength = UART_WORDLENGTH_8B;
  huart2.Init.StopBits = UART_STOPBITS_1;
  huart2.Init.Parity = UART_PARITY_NONE;
  huart2.Init.Mode = UART_MODE_TX_RX;
  huart2.Init.HwFlowCtl = UART_HWCONTROL_NONE;
  huart2.Init.OverSampling = UART_OVERSAMPLING_16;
  if (HAL_UART_Init(&huart2) != HAL_OK)
  {
    Error_Handler();
  }

}

static void MX_USART3_UART_Init(void)
{

  huart3.Instance = USART3;
  huart3.Init.BaudRate = 256000;
  huart3.Init.WordLength = UART_WORDLENGTH_8B;
  huart3.Init.StopBits = UART_STOPBITS_1;
  huart3.Init.Parity = UART_PARITY_NONE;
  huart3.Init.Mode = UART_MODE_TX_RX;
  huart3.Init.HwFlowCtl = UART_HWCONTROL_NONE;
  huart3.Init.OverSampling = UART_OVERSAMPLING_16;
  if (HAL_UART_Init(&huart3) != HAL_OK)
  {
    Error_Handler();
  }

}

static void MX_DMA_Init(void)
{

  /* DMA controller clock enable */
  __HAL_RCC_DMA2_CLK_ENABLE();
  __HAL_RCC_DMA1_CLK_ENABLE();

  /* DMA interrupt init */
  /* DMA1_Stream1_IRQn interrupt configuration */
  HAL_NVIC_SetPriority(DMA1_Stream1_IRQn, 0, 0);
  HAL_NVIC_EnableIRQ(DMA1_Stream1_IRQn);
  /* DMA1_Stream2_IRQn interrupt configuration */
  HAL_NVIC_SetPriority(DMA1_Stream2_IRQn, 0, 0);
  HAL_NVIC_EnableIRQ(DMA1_Stream2_IRQn);
  /* DMA1_Stream5_IRQn interrupt configuration */
  HAL_NVIC_SetPriority(DMA1_Stream5_IRQn, 0, 0);
  HAL_NVIC_EnableIRQ(DMA1_Stream5_IRQn);
  /* DMA1_Stream6_IRQn interrupt configuration */
  HAL_NVIC_SetPriority(DMA1_Stream6_IRQn, 0, 0);
  HAL_NVIC_EnableIRQ(DMA1_Stream6_IRQn);
  /* DMA1_Stream7_IRQn interrupt configuration */
  HAL_NVIC_SetPriority(DMA1_Stream7_IRQn, 0, 0);
  HAL_NVIC_EnableIRQ(DMA1_Stream7_IRQn);
  /* DMA2_Stream2_IRQn interrupt configuration */
  HAL_NVIC_SetPriority(DMA2_Stream2_IRQn, 0, 0);
  HAL_NVIC_EnableIRQ(DMA2_Stream2_IRQn);
  /* DMA2_Stream7_IRQn interrupt configuration */
  HAL_NVIC_SetPriority(DMA2_Stream7_IRQn, 0, 0);
  HAL_NVIC_EnableIRQ(DMA2_Stream7_IRQn);

}

static void MX_GPIO_Init(void)
{
  GPIO_InitTypeDef GPIO_InitStruct = {0};

  /* GPIO Ports Clock Enable */
  __HAL_RCC_GPIOC_CLK_ENABLE();
  __HAL_RCC_GPIOH_CLK_ENABLE();
  __HAL_RCC_GPIOA_CLK_ENABLE();
  __HAL_RCC_GPIOB_CLK_ENABLE();

  /*Configure GPIO pin Output Level */
  HAL_GPIO_WritePin(GPIOC, OLED_SCL_Pin|OLED_SDA_Pin|OLED_RES_Pin|OLED_DC_Pin
                          |PS2_DO_Pin|PS2_CS_Pin|DIR_C_Pin, GPIO_PIN_RESET);

  /*Configure GPIO pin Output Level */
  HAL_GPIO_WritePin(PS2_CLK_GPIO_Port, PS2_CLK_Pin, GPIO_PIN_RESET);

  /*Configure GPIO pin Output Level */
  HAL_GPIO_WritePin(DIR_A_GPIO_Port, DIR_A_Pin, GPIO_PIN_SET);

  /*Configure GPIO pin Output Level */
  HAL_GPIO_WritePin(DIR_B_GPIO_Port, DIR_B_Pin, GPIO_PIN_SET);

  /*Configure GPIO pin Output Level */
  HAL_GPIO_WritePin(GPIOB, DIR_D_Pin|USER_LED_Pin, GPIO_PIN_RESET);

  /*Configure GPIO pins : OLED_SCL_Pin OLED_SDA_Pin OLED_RES_Pin OLED_DC_Pin */
  GPIO_InitStruct.Pin = OLED_SCL_Pin|OLED_SDA_Pin|OLED_RES_Pin|OLED_DC_Pin;
  GPIO_InitStruct.Mode = GPIO_MODE_OUTPUT_PP;
  GPIO_InitStruct.Pull = GPIO_NOPULL;
  GPIO_InitStruct.Speed = GPIO_SPEED_FREQ_LOW;
  HAL_GPIO_Init(GPIOC, &GPIO_InitStruct);

  /*Configure GPIO pins : PS2_DO_Pin PS2_CS_Pin DIR_A_Pin DIR_C_Pin */
  GPIO_InitStruct.Pin = PS2_DO_Pin|PS2_CS_Pin|DIR_A_Pin|DIR_C_Pin;
  GPIO_InitStruct.Mode = GPIO_MODE_OUTPUT_PP;
  GPIO_InitStruct.Pull = GPIO_PULLUP;
  GPIO_InitStruct.Speed = GPIO_SPEED_FREQ_VERY_HIGH;
  HAL_GPIO_Init(GPIOC, &GPIO_InitStruct);

  /*Configure GPIO pin : PS2_DI_Pin */
  GPIO_InitStruct.Pin = PS2_DI_Pin;
  GPIO_InitStruct.Mode = GPIO_MODE_INPUT;
  GPIO_InitStruct.Pull = GPIO_PULLUP;
  HAL_GPIO_Init(PS2_DI_GPIO_Port, &GPIO_InitStruct);

  /*Configure GPIO pin : PS2_CLK_Pin */
  GPIO_InitStruct.Pin = PS2_CLK_Pin;
  GPIO_InitStruct.Mode = GPIO_MODE_OUTPUT_PP;
  GPIO_InitStruct.Pull = GPIO_PULLUP;
  GPIO_InitStruct.Speed = GPIO_SPEED_FREQ_VERY_HIGH;
  HAL_GPIO_Init(PS2_CLK_GPIO_Port, &GPIO_InitStruct);

  /*Configure GPIO pins : DIR_B_Pin DIR_D_Pin USER_LED_Pin */
  GPIO_InitStruct.Pin = DIR_B_Pin|DIR_D_Pin|USER_LED_Pin;
  GPIO_InitStruct.Mode = GPIO_MODE_OUTPUT_PP;
  GPIO_InitStruct.Pull = GPIO_PULLUP;
  GPIO_InitStruct.Speed = GPIO_SPEED_FREQ_VERY_HIGH;
  HAL_GPIO_Init(GPIOB, &GPIO_InitStruct);

  /*Configure GPIO pins : USER_SW_Pin USER_BUTTON_Pin */
  GPIO_InitStruct.Pin = USER_SW_Pin|USER_BUTTON_Pin;
  GPIO_InitStruct.Mode = GPIO_MODE_INPUT;
  GPIO_InitStruct.Pull = GPIO_PULLUP;
  HAL_GPIO_Init(GPIOB, &GPIO_InitStruct);

  /*Configure GPIO pin : IMU_INT_EXTI15_Pin */
  GPIO_InitStruct.Pin = IMU_INT_EXTI15_Pin;
  GPIO_InitStruct.Mode = GPIO_MODE_IT_FALLING;
  GPIO_InitStruct.Pull = GPIO_PULLUP;
  HAL_GPIO_Init(IMU_INT_EXTI15_GPIO_Port, &GPIO_InitStruct);

  /* EXTI interrupt init*/
  HAL_NVIC_SetPriority(EXTI15_10_IRQn, 0, 0);
  HAL_NVIC_EnableIRQ(EXTI15_10_IRQn);

}

/* USER CODE BEGIN 4 */
//[TIM-RUN]: 5ms/
// Luon cho chay, de dam bao ko xay ra su co gi cho he dieu khien.
void HAL_TIM_PeriodElapsedCallback(TIM_HandleTypeDef *htim)
{
	//GPIOB->ODR ^= USER_LED_Pin;
	//
	ROBOT_CONTROL_PID_Run(&robotAGV); //~0.5uS}
}
/* USER CODE END 4 */

void Error_Handler(void)
{
  /* USER CODE BEGIN Error_Handler_Debug */
	/* User can add his own implementation to report the HAL error return state */
	while(1)
	{
		GPIOB->ODR ^= USER_LED_Pin;
		HAL_Delay(500);
	}
  /* USER CODE END Error_Handler_Debug */
}

/************************ (C) COPYRIGHT STMicroelectronics *****END OF FILE****/
